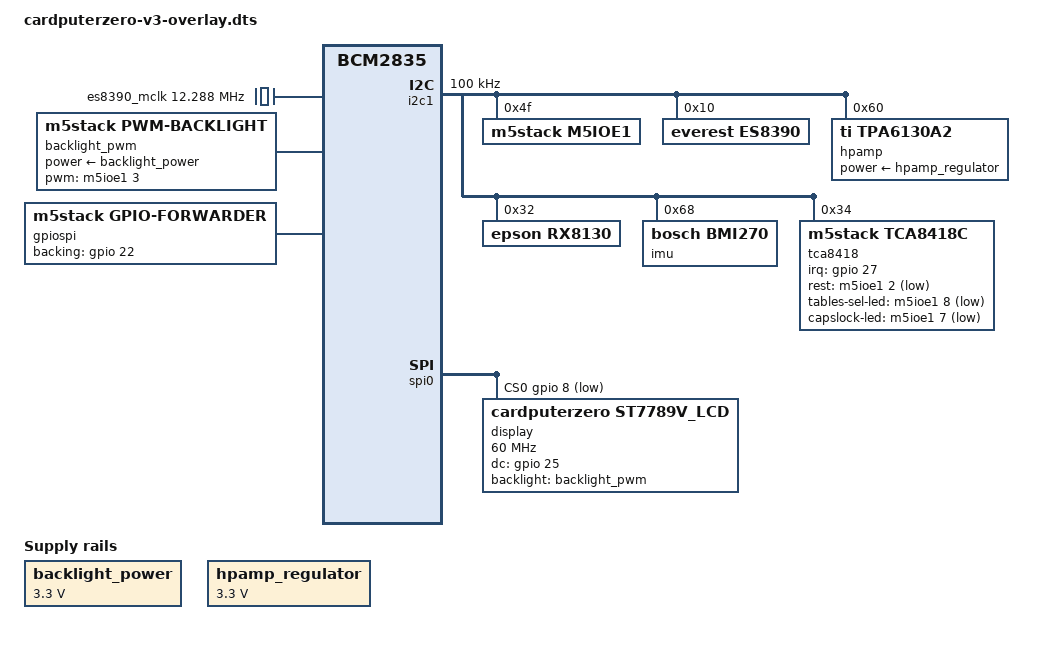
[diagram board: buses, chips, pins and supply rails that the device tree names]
// Definitions for ES8389 Audio HAT
/dts-v1/;
/plugin/;
// dtc -@ -I dts -O dtb -o es8389_m5stack.dtbo  es8389_m5stack.dts
/ {
    compatible = "brcm,bcm2835";
    
    fragment@0 {
        target = <&i2s_clk_producer>;
        __overlay__ {
            status = "okay";
        };
    };

    fragment@1 {
        target = <&gpio>;
        __overlay__ {
            tca8418_pins: tca8418_pins {
                    brcm,pins = <27>;
                    brcm,function = <0>;
                    brcm,pull = <2>;
            };
        };
    };

    fragment@2 {
        target = <&i2c1>;
        __overlay__ {
            #address-cells = <1>;
            #size-cells = <0>;
            clock-frequency = <100000>;
            status = "okay";

            
            m5ioe1: gpio@4f {
                    compatible = "m5stack,m5ioe1";
                    reg = <0x4f>;
                    
                    gpio-controller;
                    #gpio-cells = <2>;
                    ngpios = <16>;
                    
                    #pwm-cells = <3>;
                    
                    status = "okay";
            };

            es8390: es8390@10 {
                compatible = "everest,es8390";
                reg = <0x10>;
                #sound-dai-cells = <0>;
                clock-names = "mclk";
                clocks = <&es8390_mclk>;
                snd_def-ADCL_PGA_Volume = <8>;
                snd_def-ADCR_PGA_Volume = <8>;
                status = "okay";
            };

			hpamp: hpamp@60 {
				compatible = "ti,tpa6130a2";
				reg = <0x60>;
                power-supply = <&hpamp_regulator>;
				status = "okay";
			};

            rx8130: rx8130@32 {
                compatible = "epson,rx8130";
                reg = <0x32>;
                status = "okay";
            };

            imu@68 {
                compatible = "bosch,bmi270";
                reg = <0x68>;
                status = "okay";
            };

            tca8418@34 {
                compatible = "m5stack,tca8418c"; 
                reg = <0x34>;
                pinctrl-names = "default";
                pinctrl-0 = <&tca8418_pins>;
                interrupt-parent = <&gpio>;
                interrupts = <27 8>; /* Interrupt IO, low-level trigger */
                irq-gpios = <&gpio 27 0x00>;
                    
                keypad,num-rows = <5>;
                keypad,num-columns = <10>;

                rest-gpios      = <&m5ioe1 2 1>;

                tables-sel-led-gpio = <&m5ioe1 8 1>;
                capslock-led-gpio   = <&m5ioe1 7 1>;

                sym-button-code = <0x43>; 
                fn-button-code = <0x42>;  
                shift-button-code = <0x41>; 

                // switch-button-code = <73>; /* Switch button keycode */
                // interrupt-controller;
                /* row | column | key-code, for example: 04,08,0010 for the Q key */
                /* row | column | key-code, for example: 04,08,0010 => Q key */
                linux,keymap = <
                    0x04000001 /* row=0x04 col=0x00 keycode=0x0001  KEY_ESC        Esc */
                    0x0409000f /* row=0x04 col=0x09 keycode=0x000f  KEY_TAB        Tab */

                    0x04040002 /* row=0x04 col=0x04 keycode=0x0002  KEY_1          1 */
                    0x00000003 /* row=0x00 col=0x00 keycode=0x0003  KEY_2          2 */
                    0x00010004 /* row=0x00 col=0x01 keycode=0x0004  KEY_3          3 */
                    0x00020005 /* row=0x00 col=0x02 keycode=0x0005  KEY_4          4 */
                    0x00030006 /* row=0x00 col=0x03 keycode=0x0006  KEY_5          5 */
                    0x00040007 /* row=0x00 col=0x04 keycode=0x0007  KEY_6          6 */
                    0x00050008 /* row=0x00 col=0x05 keycode=0x0008  KEY_7          7 */
                    0x00060009 /* row=0x00 col=0x06 keycode=0x0009  KEY_8          8 */
                    0x0007000a /* row=0x00 col=0x07 keycode=0x000a  KEY_9          9 */
                    0x0008000b /* row=0x00 col=0x08 keycode=0x000b  KEY_0          0 */
                    0x0009000e /* row=0x00 col=0x09 keycode=0x000e  KEY_BACKSPACE  Backspace */

                    /* 0x0403000f  Sym function key */ 
                    0x01000010 /* row=0x01 col=0x00 keycode=0x0010  KEY_Q          Q */
                    0x01010011 /* row=0x01 col=0x01 keycode=0x0011  KEY_W          W */
                    0x01020012 /* row=0x01 col=0x02 keycode=0x0012  KEY_E          E */
                    0x01030013 /* row=0x01 col=0x03 keycode=0x0013  KEY_R          R */
                    0x01040014 /* row=0x01 col=0x04 keycode=0x0014  KEY_T          T */
                    0x01050015 /* row=0x01 col=0x05 keycode=0x0015  KEY_Y          Y */
                    0x01060016 /* row=0x01 col=0x06 keycode=0x0016  KEY_U          U */
                    0x01070017 /* row=0x01 col=0x07 keycode=0x0017  KEY_I          I */
                    0x01080018 /* row=0x01 col=0x08 keycode=0x0018  KEY_O          O */
                    0x01090019 /* row=0x01 col=0x09 keycode=0x0019  KEY_P          P */


                    0x0401002a /* row=0x04 col=0x01 keycode=0x002a  KEY_LEFTSHIFT    Left Shift */
                    0x0200001e /* row=0x02 col=0x00 keycode=0x001e  KEY_A          A */
                    0x0201001f /* row=0x02 col=0x01 keycode=0x001f  KEY_S          S */
                    0x02020020 /* row=0x02 col=0x02 keycode=0x0020  KEY_D          D */
                    0x02030021 /* row=0x02 col=0x03 keycode=0x0021  KEY_F          F */
                    0x02040022 /* row=0x02 col=0x04 keycode=0x0022  KEY_G          G */
                    0x02050023 /* row=0x02 col=0x05 keycode=0x0023  KEY_H          H */
                    0x02060024 /* row=0x02 col=0x06 keycode=0x0024  KEY_J          J */
                    0x02070025 /* row=0x02 col=0x07 keycode=0x0025  KEY_K          K */
                    0x02080026 /* row=0x02 col=0x08 keycode=0x0026  KEY_L          L */
                    0x0209001c /* row=0x02 col=0x09 keycode=0x001c  KEY_ENTER      Enter */

                    /* 0x0402002a  Fn function key */
                    0x0300001d /* row=0x03 col=0x00 keycode=0x001d  KEY_LEFTCTRL   Left Ctrl */
                    0x03010038 /* row=0x03 col=0x01 keycode=0x0038  KEY_LEFTALT    Left Alt  */
                    0x0302002c /* row=0x03 col=0x02 keycode=0x002d  KEY_Z          Z */
                    0x0303002d /* row=0x03 col=0x03 keycode=0x002e  KEY_X          X */
                    0x0304002e /* row=0x03 col=0x04 keycode=0x002f  KEY_C          C */
                    0x0305002f /* row=0x03 col=0x05 keycode=0x0030  KEY_V          V */
                    0x03060030 /* row=0x03 col=0x06 keycode=0x0031  KEY_B          B */
                    0x03070031 /* row=0x03 col=0x07 keycode=0x0032  KEY_N          N */
                    0x03080032 /* row=0x03 col=0x08 keycode=0x0033  KEY_M          M */
                    0x03090039 /* row=0x03 col=0x09 keycode=0x0039  KEY_SPACE      Space */
                    >;
                /* row | column | key-code */
                linux,keymap1 = <
                    0x04000001 /* row=0x04 col=0x00 keycode=0x0001  KEY_ESC        Esc */
                    0x0409000f /* row=0x04 col=0x09 keycode=0x000f  KEY_TAB        Tab */


                    0x040400b7 /* row=0x04 col=0x04 keycode=0x00b7  KEY_F13          F13 */
                    0x000000b8 /* row=0x00 col=0x00 keycode=0x00b8  KEY_F14          F14 */
                    0x000100b9 /* row=0x00 col=0x01 keycode=0x00b9  KEY_F15          F15 */
                    0x000200ba /* row=0x00 col=0x02 keycode=0x00ba  KEY_F16          F16 */
                    0x000300bb /* row=0x00 col=0x03 keycode=0x00bb  KEY_F17          F17 */
                    0x000400bc /* row=0x00 col=0x04 keycode=0x00bc  KEY_F18          F18 */
                    0x000500bd /* row=0x00 col=0x05 keycode=0x00bd  KEY_F19          F19 */
                    0x000600be /* row=0x00 col=0x06 keycode=0x00be  KEY_F20          F20 */
                    0x000700bf /* row=0x00 col=0x07 keycode=0x00bf  KEY_F21          F21 */
                    0x000800c0 /* row=0x00 col=0x08 keycode=0x00c0  KEY_F22          F22 */
                    0x0009000e /* row=0x00 col=0x09 keycode=0x000e  KEY_BACKSPACE    Backspace */

                    /* 0x0403000f  Sym function key */ 
                    0x010000c1 /* row=0x01 col=0x00 keycode=0x00c1  KEY_F23          F23 */
                    0x010100c2 /* row=0x01 col=0x01 keycode=0x00c2  KEY_F24          F24 */
                    0x010200c3 /* row=0x01 col=0x02 keycode=0x00c3  KEY_PLAYCD       Play CD */
                    0x010300c4 /* row=0x01 col=0x03 keycode=0x00c4  KEY_PAUSECD      Pause CD */
                    0x010400c5 /* row=0x01 col=0x04 keycode=0x00c5  KEY_PROG3        Prog3 */
                    0x010500c6 /* row=0x01 col=0x05 keycode=0x00c6  KEY_PROG4        Prog4 */
                    0x010600c7 /* row=0x01 col=0x06 keycode=0x00c7  KEY_DASHBOARD    Dashboard */
                    0x010700c8 /* row=0x01 col=0x07 keycode=0x00c8  KEY_SUSPEND      Suspend */
                    0x010800c9 /* row=0x01 col=0x08 keycode=0x00c9  KEY_CLOSE        Close */
                    0x010900ca /* row=0x01 col=0x09 keycode=0x00ca  KEY_PLAY         Play */


                    0x0401003a /* row=0x04 col=0x01 keycode=0x003a  KEY_CAPSLOCK     Caps Lock */
                    0x020000e7 /* row=0x02 col=0x00 keycode=0x00e7  KEY_SEND         send */
                    0x020100e8 /* row=0x02 col=0x01 keycode=0x00e8  KEY_REPLY        reply */
                    0x020200e9 /* row=0x02 col=0x02 keycode=0x00e9  KEY_FORWARDMAIL  FORWARDMAIL */
                    0x02030067 /* row=0x02 col=0x03 keycode=0x0067  KEY_UP           Up */
                    0x020400d1 /* row=0x02 col=0x04 keycode=0x00d1  KEY_BASSBOOST    Bass Boost */
                    0x020500d2 /* row=0x02 col=0x05 keycode=0x00d2  KEY_PRINT        Print */
                    0x020600d3 /* row=0x02 col=0x06 keycode=0x00d3  KEY_HP           HP */
                    0x020700d4 /* row=0x02 col=0x07 keycode=0x00d4  KEY_CAMERA       Camera */
                    0x020800d5 /* row=0x02 col=0x08 keycode=0x00d5  KEY_SOUND        Sound */
                    0x0209001c /* row=0x02 col=0x09 keycode=0x001c  KEY_ENTER        Enter */

                    /* 0x0402002a  Fn function key */
                    0x0300001d /* row=0x03 col=0x00 keycode=0x001d  KEY_LEFTCTRL   Left Ctrl */
                    0x03010038 /* row=0x03 col=0x01 keycode=0x0038  KEY_LEFTALT    Left Alt  */
                    0x03020069 /* row=0x03 col=0x02 keycode=0x0069  KEY_LEFT         Left */
                    0x0303006c /* row=0x03 col=0x03 keycode=0x006c  KEY_DOWN         Down */
                    0x0304006a /* row=0x03 col=0x04 keycode=0x006a  KEY_RIGHT        Right */
                    0x030500d6 /* row=0x03 col=0x05 keycode=0x00d6  KEY_QUESTION     Question */
                    0x030600d7 /* row=0x03 col=0x06 keycode=0x00d7  KEY_EMAIL        Email */
                    0x030700d8 /* row=0x03 col=0x07 keycode=0x00d8  KEY_CHAT         Chat */
                    0x030800d9 /* row=0x03 col=0x08 keycode=0x00d9  KEY_SEARCH       Search */
                    0x03090039 /* row=0x03 col=0x09 keycode=0x0039  KEY_SPACE        Space */
                    >;
                linux,keymap2 = <
                    0x04000001 /* row=0x04 col=0x00 keycode=0x0001  KEY_ESC        Esc */
                    0x0409000f /* row=0x04 col=0x09 keycode=0x000f  KEY_TAB        Tab */


                    0x0404003b /* row=0x04 col=0x04 keycode=0x003b  KEY_F1           F1 */
                    0x0000003c /* row=0x00 col=0x00 keycode=0x003c  KEY_F2           F2 */
                    0x0001003d /* row=0x00 col=0x01 keycode=0x003d  KEY_F3           F15 */
                    0x0002003e /* row=0x00 col=0x02 keycode=0x003e  KEY_F4           F16 */
                    0x0003003f /* row=0x00 col=0x03 keycode=0x003f  KEY_F5           F17 */
                    0x00040040 /* row=0x00 col=0x04 keycode=0x0040  KEY_F6           F18 */
                    0x00050041 /* row=0x00 col=0x05 keycode=0x0041  KEY_F7           F19 */
                    0x00060042 /* row=0x00 col=0x06 keycode=0x0042  KEY_F8           F20 */
                    0x00070043 /* row=0x00 col=0x07 keycode=0x0043  KEY_F9           F21 */
                    0x00080044 /* row=0x00 col=0x08 keycode=0x0044  KEY_F10          F22 */
                    0x0009006f /* row=0x00 col=0x09 keycode=0x006f  KEY_DELETE       del */

                    /* 0x0403000f  Sym function key */ 
                    0x010000e0 /* row=0x01 col=0x00 keycode=0x00e0  KEY_BRIGHTNESSDOWN  BRIGHTNESSDOWN */
                    0x010100e1 /* row=0x01 col=0x01 keycode=0x00e1  KEY_BRIGHTNESSUP    BRIGHTNESSUP */
                    0x01020012 /* row=0x01 col=0x02 keycode=0x0012  KEY_E          E */
                    0x01030013 /* row=0x01 col=0x03 keycode=0x0013  KEY_R          R */
                    0x01040014 /* row=0x01 col=0x04 keycode=0x0014  KEY_T          T */
                    0x01050015 /* row=0x01 col=0x05 keycode=0x0015  KEY_Y          Y */
                    0x01060016 /* row=0x01 col=0x06 keycode=0x0016  KEY_U          U */
                    0x01070017 /* row=0x01 col=0x07 keycode=0x0017  KEY_I          I */
                    0x01080057 /* row=0x01 col=0x08 keycode=0x0057  KEY_F11        F11 */
                    0x01090058 /* row=0x01 col=0x09 keycode=0x0058  KEY_F12        F12 */


                    0x04012a3a /* KEY_LEFTSHIFT/KEY_CAPSLOCK shared: single click KEY_LEFTSHIFT, double click KEY_CAPSLOCK */
                    0x02000071 /* row=0x02 col=0x00 keycode=0x0071  KEY_MUTE       MUTE */
                    0x02010072 /* row=0x02 col=0x01 keycode=0x0072  KEY_VOLUMEDOWN VOLUMEDOWN */
                    0x02020073 /* row=0x02 col=0x02 keycode=0x0073  KEY_VOLUMEUP   VOLUMEUP */
                    0x02030067 /* row=0x02 col=0x03 keycode=0x0067  KEY_UP          F */
                    0x02040022 /* row=0x02 col=0x04 keycode=0x0022  KEY_G          G */
                    0x02050023 /* row=0x02 col=0x05 keycode=0x0023  KEY_H          H */
                    0x02060024 /* row=0x02 col=0x06 keycode=0x0024  KEY_J          J */
                    0x02070068 /* row=0x02 col=0x07 keycode=0x0068  KEY_PAGEUP          K */
                    0x0208006d /* row=0x02 col=0x08 keycode=0x006d  KEY_PAGEDOWN          L */
                    0x0209001c /* row=0x02 col=0x09 keycode=0x001c  KEY_ENTER      Enter */

                    /* 0x0402002a  Fn function key */
                    0x0300001d /* row=0x03 col=0x00 keycode=0x001d  KEY_LEFTCTRL   Left Ctrl */
                    0x03010038 /* row=0x03 col=0x01 keycode=0x0038  KEY_LEFTALT    Left Alt  */
                    0x03020069 /* row=0x03 col=0x02 keycode=0x0069  KEY_LEFT          Z */
                    0x0303006c /* row=0x03 col=0x03 keycode=0x006c  KEY_DOWN          X */
                    0x0304006a /* row=0x03 col=0x04 keycode=0x006a  KEY_RIGHT          C */
                    0x0305002f /* row=0x03 col=0x05 keycode=0x0030  KEY_V          V */
                    0x03060030 /* row=0x03 col=0x06 keycode=0x0031  KEY_B          B */
                    0x03070066 /* row=0x03 col=0x07 keycode=0x0066  KEY_HOME          N */
                    0x0308006e /* row=0x03 col=0x08 keycode=0x006e  KEY_INSERT          M */
                    0x03090039 /* row=0x03 col=0x09 keycode=0x0039  KEY_SPACE      Space */
                    >;
            };
        };
    };


    fragment@3 {
        target-path = "/";
        __overlay__ {

            es8390_mclk: es8390_mclk {
                compatible = "fixed-clock";
                #clock-cells = <0>;
                clock-frequency = <12288000>;
            };

            backlight_power: backlight-regulator {
                compatible = "regulator-fixed";
                regulator-name = "backlight-vcc";
                regulator-min-microvolt = <3300000>;
                regulator-max-microvolt = <3300000>;
                regulator-boot-on;  /* Enable at boot */
            };

            hpamp_regulator: hpamp-regulator {
                compatible = "regulator-fixed";
                regulator-name = "ext_3v3_out";
                regulator-min-microvolt = <3300000>;
                regulator-max-microvolt = <3300000>;
                regulator-boot-on;
            };
            backlight_pwm: backlight {
                compatible = "m5stack,pwm-backlight";
                pwms = <&m5ioe1 3 50000 0>;

                brightness-levels = <
                    0   500   1000  1500  2000  2500  3000  3500  4000  4500
                    5000 5500 6000  6500  7000  7500  8000  8500  9000  9500
                    10000 10500 11000 11500 12000 12500 13000 13500 14000 14500
                    15000 15500 16000 16500 17000 17500 18000 18500 19000 19500
                    20000 20500 21000 21500 22000 22500 23000 23500 24000 24500
                    25000 25500 26000 26500 27000 27500 28000 28500 29000 29500
                    30000 30500 31000 31500 32000 32500 33000 33500 34000 34500
                    35000 35500 36000 36500 37000 37500 38000 38500 39000 39500
                    40000 40500 41000 41500 42000 42500 43000 43500 44000 44500
                    45000 45500 46000 46500 47000 47500 48000 48500 49000 49500
                    50000
                >;
                default-brightness-level = <75>;
                power-supply = <&backlight_power>;
                /* Force the backlight on during initialization */
                force-enable-on-init;
            };



            sound {
                compatible = "simple-audio-card";
                simple-audio-card,name = "ES8389-Audio";
                status = "okay";


                simple-audio-card,widgets =
                    "Headphone", "Headphone Jack",
                    "Microphone", "Mic Jack";

                simple-audio-card,routing =
                    "Headphone Jack", "HPOL",
                    "Headphone Jack", "HPOR",

                    "INPUT1", "Mic Jack",
                    "INPUT2", "Mic Jack";

                simple-audio-card,dai-link {
                    format = "i2s";
                    bitclock-master = <&dailink0_master>;
                    frame-master = <&dailink0_master>;

                    dailink0_master: cpu {
                        sound-dai = <&i2s_clk_producer>;
                    };

                    dailink0_slave: codec {
                        sound-dai = <&es8390>;
                    };
                };
            };

        };
        
    };

    fragment@4 {
        target = <&spi0>;
        __overlay__ {
            status = "okay";

            #address-cells = <1>;
            #size-cells = <0>;

            num-cs = <3>;
            cs-gpios = <&gpio 8 1>,
                        <&gpio 7 1>,
                        <&gpiospi 0 1>;
                        
            display: st7789v@0 {
                compatible = "cardputerzero,st7789v_lcd", "panel-mipi-dbi-m5stack";
                reg = <0>;
                spi-max-frequency = <60000000>;

                dc-gpios    = <&gpio 25 0>;
                // te-gpios    = <&gpio 5  0>;
                /* reset-gpios = <&gpio 27 GPIO_ACTIVE_LOW>;  Enable if required by the actual wiring */

                backlight = <&backlight_pwm>;
                write-only;
                format = "r5g6b5";

                width-mm  = <26>;
                height-mm = <14>;

                panel-timing {
                    clock-frequency = <1968000>;
                    hactive = <320>;
                    vactive = <170>;
                    hfront-porch = <0>;
                    hsync-len    = <0>;
                    hback-porch  = <0>;
                    vfront-porch = <0>;
                    vsync-len    = <0>;
                    vback-porch  = <35>;
                };
            };
        };
    };

    fragment@5 {
        target = <&spidev0>;
        __overlay__ {
            status = "disabled";
        };
    };

    fragment@6 {
        target-path = "/";
        __overlay__ {
            gpiospi: gpio-spi-cs {
                compatible = "m5stack,gpio-forwarder";
                gpio-controller;
                #gpio-cells = <2>;

                /* GPIO_ACTIVE_HIGH: forwarding uses raw GPIO values. */
                backing-gpios = <&gpio 22 0>;
                spi-bus-num = <0>;
                spi-chip-select = <2>;
                status = "okay";
            };
        };
    };
};



